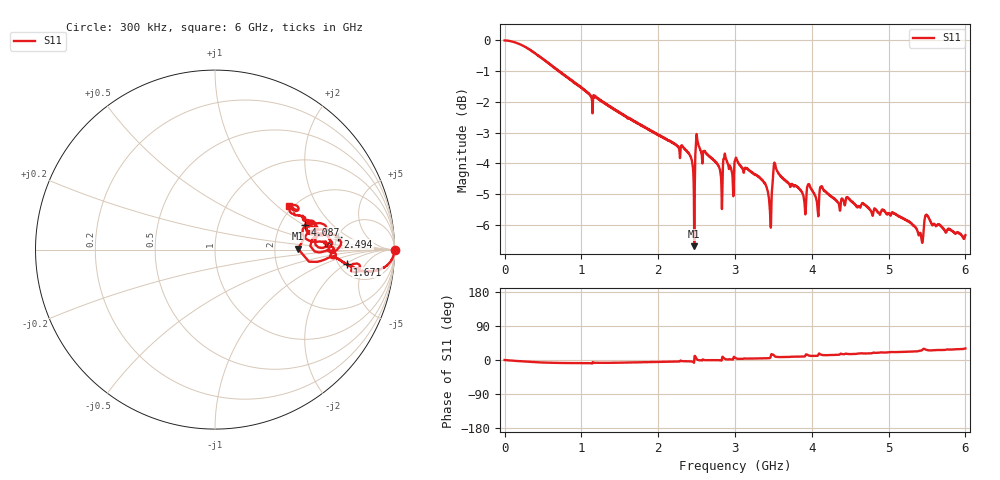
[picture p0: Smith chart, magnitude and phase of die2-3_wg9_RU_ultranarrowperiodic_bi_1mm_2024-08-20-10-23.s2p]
!Keysight Technologies,P9374A,MY57304198,A.17.20.09
!Date: Tuesday, August 20, 2024 10:23:37
!Correction: S11(C  1-Port  )
!S21(C  1-Port  )
!S12(Off)
!S22(Off)
!S2P File: Measurements: S11, S21, S12, S22:
# Hz S  dB  R 50
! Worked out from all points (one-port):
!   6000 points, 300 kHz to 6 GHz, reference 50 ohm
!   lowest |S11| = -6.7 dB at 2.47 GHz (marker M1), VSWR 2.72, Z = 136 + j1.67 ohm
!   |S11| at or under -10 dB: nowhere
!   S11 on the Smith chart (normalised r, x): 300 kHz: open; 1.671 GHz: 5.88, -2.15; 2.494 GHz: 5.03, +1.39; 4.087 GHz: 2.73, +1.03; 6 GHz: 1.91, +1.22
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300000  0.00 -0.0  -200.00 45.0  -200.00 45.0  -200.00 45.0
4.323504e8  -0.47 -6.0  -200.00 45.0  -200.00 45.0  -200.00 45.0
1.000417e9  -1.52 -8.2  -200.00 45.0  -200.00 45.0  -200.00 45.0
1.671495e9  -2.62 -6.4  -200.00 45.0  -200.00 45.0  -200.00 45.0
2.000533e9  -3.07 -5.0  -200.00 45.0  -200.00 45.0  -200.00 45.0
2.438584e9  -3.91 -4.0  -200.00 45.0  -200.00 45.0  -200.00 45.0
2.469588e9  -6.70 0.6  -200.00 45.0  -200.00 45.0  -200.00 45.0
2.493591e9  -3.24 6.0  -200.00 45.0  -200.00 45.0  -200.00 45.0
2.520594e9  -3.37 -0.1  -200.00 45.0  -200.00 45.0  -200.00 45.0
2.797626e9  -4.17 -0.6  -200.00 45.0  -200.00 45.0  -200.00 45.0
2.858633e9  -3.82 4.6  -200.00 45.0  -200.00 45.0  -200.00 45.0
2.944644e9  -4.15 1.6  -200.00 45.0  -200.00 45.0  -200.00 45.0
3.00065e9  -3.91 5.8  -200.00 45.0  -200.00 45.0  -200.00 45.0
3.34069e9  -4.53 4.3  -200.00 45.0  -200.00 45.0  -200.00 45.0
3.456703e9  -5.62 5.6  -200.00 45.0  -200.00 45.0  -200.00 45.0
3.495708e9  -4.42 14.2  -200.00 45.0  -200.00 45.0  -200.00 45.0
3.532712e9  -4.16 8.5  -200.00 45.0  -200.00 45.0  -200.00 45.0
3.904756e9  -5.28 9.0  -200.00 45.0  -200.00 45.0  -200.00 45.0
4.000767e9  -4.86 10.8  -200.00 45.0  -200.00 45.0  -200.00 45.0
4.086777e9  -5.68 15.3  -200.00 45.0  -200.00 45.0  -200.00 45.0
5.000883e9  -5.64 20.4  -200.00 45.0  -200.00 45.0  -200.00 45.0
6e9  -6.34 30.5  -200.00 45.0  -200.00 45.0  -200.00 45.0
